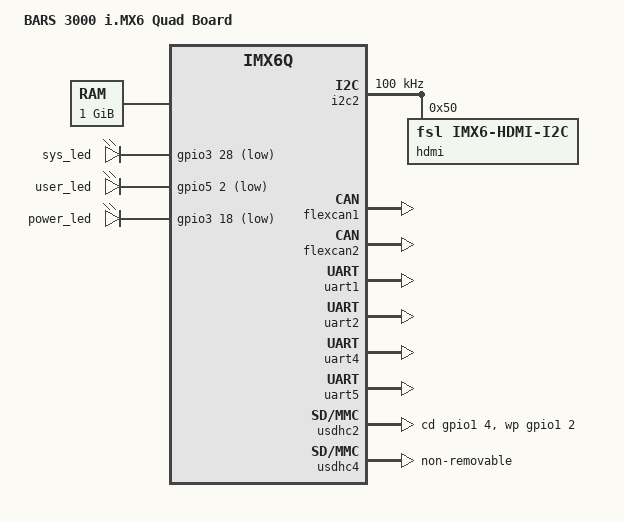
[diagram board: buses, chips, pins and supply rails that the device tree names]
/dts-v1/;

#include "imx6q-bars3000.dtsi"

/ {
  	model = "BARS 3000 i.MX6 Quad Board";
	compatible = "strim,imx6q-bars3000", "fsl,imx6q";
	//aliases {
	//	mxcfb0 = &mxcfb1;
	//	mxcfb1 = &mxcfb2;
	//	mxcfb2 = &mxcfb3;
	//	mxcfb3 = &mxcfb4;
	//};

	memory {
		reg = <0x10000000 0x40000000>;
	};

	leds { /* see iomuxc definition below */
		compatible = "gpio-leds";
		sys_led {
			gpios = <&gpio3 28 GPIO_ACTIVE_LOW>;
			linux,default-trigger = "heartbeat";
		};
		user_led {
			gpios = <&gpio5 2 GPIO_ACTIVE_LOW>;
		};
		power_led {
		      gpios = <&gpio3 18 GPIO_ACTIVE_LOW>;
		};
	};
	
	//mxcfb1: fb@0 {
	//	compatible = "fsl,mxc_sdc_fb";
	//	disp_dev = "hdmi";
	//	interface_pix_fmt = "RGB24";
	//	mode_str ="1280x720M@60";
	//	default_bpp = <32>;
	//	int_clk = <0>;
	//	late_init = <0>;
	//	status = "okay";
	//};

	//mxcfb2: fb@1 {
	//	compatible = "fsl,mxc_sdc_fb";
	//	disp_dev = "ldb";
	//	interface_pix_fmt = "RGB666";
	//	mode_str ="LDB-XGA";
	//	default_bpp = <16>;
	//	int_clk = <0>;
	//	late_init = <0>;
	//	status = "disabled";
	//};

	//mxcfb3: fb@2 {
	//	compatible = "fsl,mxc_sdc_fb";
	//	disp_dev = "lcd";
	//	interface_pix_fmt = "RGB565";
	//	mode_str ="CLAA-WVGA";
	//	default_bpp = <16>;
	//	int_clk = <0>;
	//	late_init = <0>;
	//	status = "disabled";
	//};

	//mxcfb4: fb@3 {
	//	compatible = "fsl,mxc_sdc_fb";
	//	disp_dev = "ldb";
	//	interface_pix_fmt = "RGB666";
	//	mode_str ="LDB-XGA";
	//	default_bpp = <16>;
	//	int_clk = <0>;
	//	late_init = <0>;
	//	status = "disabled";
	//};

	v4l2_cap_0 {
		compatible = "fsl,imx6q-v4l2-capture";
		ipu_id = <0>;
		csi_id = <0>;
		mclk_source = <0>;
		status = "disabled";
	}; 

	v4l2_cap_1 {
		compatible = "fsl,imx6q-v4l2-capture";
		ipu_id = <0>;
		csi_id = <1>;
		mclk_source = <0>;
		status = "disabled";
	};

	v4l2_out { // v4l2 output support: /dev/video16 + /dev/video17
		compatible = "fsl,mxc_v4l2_output";
		status = "okay";
	};

//	pwmleds {
//		compatible = "pwm-leds";
//		my_pwm {
//			pwms = <&pwm4 0 5000000>;
//			max-brightness = <255>;
//		};
//	};
};

&iomuxc {
	pinctrl-0 = <&pinctrl_hog>;
	pinctrl-1 = <&pinctrl_gprs>;

	hog {
	      pinctrl-names = "default";
		pinctrl_hog: hoggrp {
		fsl,pins = < 		
		      MX6QDL_PAD_SD3_RST__GPIO7_IO08     0x80000000  /* LED_GPS/GPRS      | pin 78  | GPIO 200 */
			MX6QDL_PAD_EIM_D17__GPIO3_IO17     0x80000000  /* LED_WiFi          | pin 71  | GPIO 81 */
			MX6QDL_PAD_EIM_D18__GPIO3_IO18     0x80000000  /* LED_Power/Work    | pin 70  | GPIO 82 */
			MX6QDL_PAD_EIM_D16__GPIO3_IO16     0x80000000  /* LED_CAN2          | pin 69  | GPIO 80 */
			MX6QDL_PAD_KEY_COL2__GPIO4_IO10    0x80000000  /* LED_CAN1          | pin 68  | GPIO 106 */
			MX6QDL_PAD_EIM_BCLK__GPIO6_IO31    0x80000000  /* Reset_Settings    | pin 38  | GPIO 191 */
			MX6QDL_PAD_EIM_D25__GPIO3_IO25     0x80000000  /* Pow_Good          | pin 72  | GPIO 89 */
			MX6QDL_PAD_EIM_EB1__GPIO2_IO29     0x80000000  /* NOR_Vpp/Wp#       | pin 26  | GPIO ??? */
			MX6QDL_PAD_EIM_EB2__GPIO2_IO30     0x80000000  /* NOR_Reset#        | pin 37  | GPIO ??? */
			MX6QDL_PAD_EIM_EB3__GPIO2_IO31     0x80000000  /* NOR_x8/x16        | pin 36  | GPIO ??? */
		>;
		};
	};
	
	gprs {
	     pinctrl-names = "status", "flight", "power", "reset";
	     pinctrl_gprs: gprsgrp {
	     fsl,pins = <
	           MX6QDL_PAD_RGMII_RD0__GPIO6_IO25    0x80000000  /* Status_GPRS       | pin 125 | GPIO 185 */
	           MX6QDL_PAD_RGMII_RD2__GPIO6_IO28    0x80000000  /* Flight_Mode_GPRS  | pin 127 | GPIO 188 */
	           MX6QDL_PAD_EIM_D23__GPIO3_IO23      0x80000000  /* Power_GPRS        | pin 77  | GPIO 87 */
	           MX6QDL_PAD_EIM_D24__GPIO3_IO24      0x80000000  /* #Reset_GPRS       | pin 73  | GPIO 88 */
	     >;
	     };
	};
	
// shared on LCD port (J12), extension header (J11), and LVDS display (J3), on-board pull-ups
// 
//	i2c3 {		/* for LVDS display */
//		pinctrl_i2c3_5: i2c3grp-5 {
//			fsl,pins = <
//					MX6QDL_PAD_GPIO_5__I2C3_SCL 0x4001b8b1
//					MX6QDL_PAD_GPIO_6__I2C3_SDA 0x4001b8b1
//			>;
//		};
//	};

// shared on J10 and LVDS display (J3)
//	pwm4 {
//		pinctrl_pwm4_2: pwm4grp-2 {
//			fsl,pins = <
//				MX6QDL_PAD_SD1_CMD__PWM4_OUT 0x1b0b1
//			>;
//		};
//	};

};

// part of HDMI (J1)
&i2c2 {
	clock-frequency = <100000>;
	pinctrl-names = "default";
	pinctrl-0 = <&pinctrl_i2c2_2>;
	status = "okay";

	hdmi: edid@50 {
		compatible = "fsl,imx6-hdmi-i2c";
		reg = <0x50>;
	};
};

&cpu0 {
	arm-supply = <&reg_arm>;
	soc-supply = <&reg_soc>;
	pu-supply = <&reg_pu>; /* use pu_dummy if VDDSOC share with VDDPU */
};

&gpc {
	fsl,ldo-bypass = <0>; /* use ldo-bypass, u-boot will check it and configure */
	fsl,wdog-reset = <1>; /* watchdog select of reset source */
	pu-supply = <&reg_pu>; /* ldo-bypass:use pu_dummy if VDDSOC share with VDDPU */
};

//&gpu {
//	pu-supply = <&reg_pu>; /* ldo-bypass:use pu_dummy if VDDSOC share with VDDPU */
//};

//&vpu {
//	pu-supply = <&reg_pu>; /* ldo-bypass:use pu_dummy if VDDSOC share with VDDPU */
//};

//&fec {
//	pinctrl-names = "default";
//	pinctrl-0 = <&pinctrl_enet_1>;
//	phy-mode = "rgmii";
//	status = "okay";
//};

//&hdmi_core {
//	ipu_id = <1>;
//	disp_id = <0>;
//	status = "okay";
//};

//&hdmi_video {
//	fsl,phy_reg_vlev = <0x0294>;
//	fsl,phy_reg_cksymtx = <0x800d>;
//	status = "okay";
//};

//&mxcfb1 {
//	status = "okay";
//};

// example for display
//&ldb {
//	ipu_id = <1>;
//	disp_id = <1>;
//	ext_ref = <1>;
//	mode = "sep1";
//	sec_ipu_id = <1>;
//	sec_disp_id = <0>;
//};

&flexcan1 {
	pinctrl-names = "default";
	pinctrl-0 = <&pinctrl_flexcan1_3>;
	status = "okay";
};

&flexcan2 {
	pinctrl-names = "default";
	pinctrl-0 = <&pinctrl_flexcan2_1>;
	status = "okay";
};

// example for UART on J11
&uart1 {
	pinctrl-names = "default";
	pinctrl-0 = <&pinctrl_uart1_1>;
	status = "okay";
};

// this is debug com
&uart2 {
	pinctrl-names = "default";
	pinctrl-0 = <&pinctrl_uart2_1>;
	status = "okay";
};

// example for UART on J10
//&uart3 {
//	pinctrl-names = "default";
//	pinctrl-0 = <&pinctrl_uart3_2>;
//	status = "okay";
//};

&uart4 {
	pinctrl-names = "default";
	pinctrl-0 = <&pinctrl_uart4_1>;
	status = "okay";
};

&uart5 {
	pinctrl-names = "default";
	pinctrl-0 = <&pinctrl_uart5_1>;
	status = "okay";
};


//&usbh1 {
//	status = "okay";
//};

// micro-SD card J13
&usdhc2 {
	pinctrl-names = "default";
	pinctrl-0 = <&pinctrl_usdhc2_2>;
	cd-gpios = <&gpio1 4 0>;
	wp-gpios = <&gpio1 2 0>;
	status = "okay";
};

&usdhc4 {
	pinctrl-names = "default";
	pinctrl-0 = <&pinctrl_usdhc4_1>;
	non-removable;
	status = "okay";
};

// example for PWM
//&pwm4 {
//	pinctrl-names = "default";
//	pinctrl-0 = <&pinctrl_pwm4_2>;
//	status = "okay";
//};


//&weim {
//	pinctrl-names = "default";
//	pinctrl-0 = <&pinctrl_weim_nor_1 &pinctrl_weim_cs0_1>;
//	#address-cells = <2>;
//	#size-cells = <1>;
//	ranges = <0 0 0x50000000 0x08000000>;
//	status = "disabled"; /* pin conflict with qspi, nand and lcd1 */
//
//	nor@0,0 {
//		compatible = "cfi-flash";
//		reg = <0 0 0x02000000>;
//		#address-cells = <1>;
//		#size-cells = <1>;
//		bank-width = <2>;
//		fsl,weim-cs-timing = <0x00610081 0x00000001 0x1c022000
//				0x0000c000 0x1404a38e 0x00000000>;
//	};
//};


